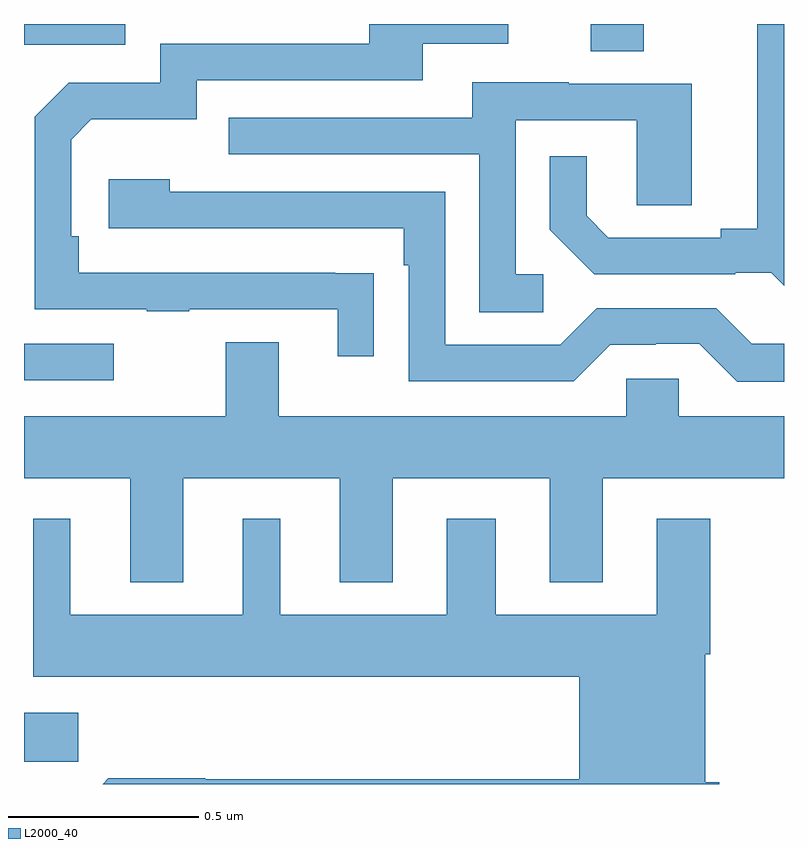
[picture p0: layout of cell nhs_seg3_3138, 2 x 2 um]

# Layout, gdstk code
import gdstk
lib = gdstk.Library(unit=1e-6, precision=1e-09)
def R(c, l, rs):  # rectangles x0, y0, x1, y1
    for r in rs: c.add(gdstk.rectangle(r[:2], r[2:], *l))
def P(c, l, *ps):  # polygons
    for p in ps: c.add(gdstk.Polygon(p, *l))
L2000_40 = (2000, 40)

nhs_seg3_3138 = lib.new_cell('nhs_seg3_3138')
R(nhs_seg3_3138, L2000_40, [(149,745.459,149.143,745.588), (149,746.463,149.236,746.559), (150.491,747.328,150.631,747.4), (149,747.345,149.266,747.4)])
P(nhs_seg3_3138, L2000_40, [(149.921,746.744),(149.819,746.744),(149.819,746.745),(149.144,746.745),(149.144,746.842),(149.124,746.842),(149.124,747.096),(149.177,747.149),(149.454,747.149),(149.454,747.252),(150.049,747.252),(150.049,747.348),(150.274,747.348),(150.274,747.4),(149.909,747.4),(149.909,747.348),(149.358,747.348),(149.358,747.246),(149.118,747.246),(149.028,747.156),(149.028,746.649),(149.323,746.649),(149.323,746.644),(149.435,746.644),(149.435,746.649),(149.825,746.649),(149.825,746.526),(149.921,746.526)],
  [(151,747.4),(150.929,747.4),(150.929,746.861),(150.833,746.861),(150.833,746.838),(150.538,746.838),(150.481,746.895),(150.481,747.052),(150.384,747.052),(150.384,746.858),(150.5,746.742),(150.872,746.742),(150.872,746.745),(150.966,746.745),(151,746.711)],
  [(150.367,746.742),(150.294,746.742),(150.294,747.147),(150.612,747.147),(150.612,746.923),(150.757,746.923),(150.757,747.243),(150.433,747.243),(150.433,747.247),(150.179,747.247),(150.179,747.153),(149.539,747.153),(149.539,747.057),(150.198,747.057),(150.198,746.641),(150.367,746.641)],
  [(151,746.559),(150.915,746.559),(150.822,746.652),(150.507,746.652),(150.411,746.556),(150.108,746.556),(150.108,746.958),(149.384,746.958),(149.384,746.992),(149.223,746.992),(149.223,746.862),(149.999,746.862),(149.999,746.765),(150.012,746.765),(150.012,746.46),(150.447,746.46),(150.543,746.556),(150.662,746.556),(150.662,746.559),(150.777,746.559),(150.877,746.459),(151,746.459)],
  [(149.671,746.563),(149.531,746.563),(149.531,746.368),(149,746.368),(149,746.204),(149.279,746.204),(149.279,745.931),(149.419,745.931),(149.419,746.204),(149.831,746.204),(149.831,745.931),(149.971,745.931),(149.971,746.204),(150.383,746.204),(150.383,745.931),(150.523,745.931),(150.523,746.204),(151,746.204),(151,746.368),(150.723,746.368),(150.723,746.466),(150.585,746.466),(150.585,746.368),(149.671,746.368)],
  [(150.83,745.404),(150.793,745.404),(150.793,745.742),(150.806,745.742),(150.806,746.098),(150.665,746.098),(150.665,745.846),(150.241,745.846),(150.241,746.098),(150.113,746.098),(150.113,745.846),(149.674,745.846),(149.674,746.098),(149.576,746.098),(149.576,745.846),(149.122,745.846),(149.122,746.098),(149.024,746.098),(149.024,745.682),(150.461,745.682),(150.461,745.412),(149.477,745.412),(149.477,745.415),(149.222,745.415),(149.207,745.4),(150.83,745.4)])

lib.write_gds('nhs_seg3_3138.gds')
